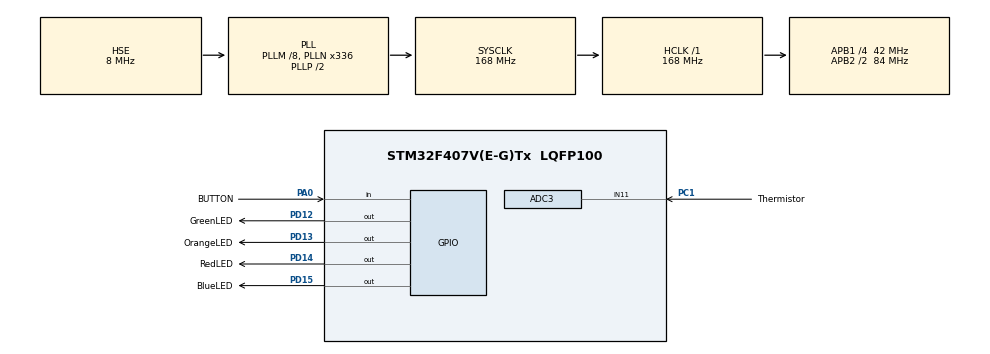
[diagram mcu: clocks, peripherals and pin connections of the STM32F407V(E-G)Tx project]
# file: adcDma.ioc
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ADC1.Channel-1\#ChannelRegularConversion=ADC_CHANNEL_TEMPSENSOR
ADC1.ContinuousConvMode=ENABLE
ADC1.DMAContinuousRequests=ENABLE
ADC1.NbrOfConversionFlag=1
ADC1.Rank-1\#ChannelRegularConversion=1
ADC1.SamplingTime-1\#ChannelRegularConversion=ADC_SAMPLETIME_84CYCLES
ADC1.master=1
ADC3.Channel-1\#ChannelRegularConversion=ADC_CHANNEL_11
ADC3.ContinuousConvMode=ENABLE
ADC3.DMAContinuousRequests=ENABLE
ADC3.NbrOfConversionFlag=1
ADC3.Rank-1\#ChannelRegularConversion=1
ADC3.SamplingTime-1\#ChannelRegularConversion=ADC_SAMPLETIME_84CYCLES
Dma.ADC1.0.Direction=DMA_PERIPH_TO_MEMORY
Dma.ADC1.0.FIFOMode=DMA_FIFOMODE_DISABLE
Dma.ADC1.0.Instance=DMA2_Stream0
Dma.ADC1.0.MemDataAlignment=DMA_MDATAALIGN_WORD
Dma.ADC1.0.MemInc=DMA_MINC_ENABLE
Dma.ADC1.0.Mode=DMA_CIRCULAR
Dma.ADC1.0.PeriphDataAlignment=DMA_PDATAALIGN_WORD
Dma.ADC1.0.PeriphInc=DMA_PINC_DISABLE
Dma.ADC1.0.Priority=DMA_PRIORITY_LOW
Dma.ADC3.1.Direction=DMA_PERIPH_TO_MEMORY
Dma.ADC3.1.FIFOMode=DMA_FIFOMODE_DISABLE
Dma.ADC3.1.Instance=DMA2_Stream1
Dma.ADC3.1.MemDataAlignment=DMA_MDATAALIGN_WORD
Dma.ADC3.1.MemInc=DMA_MINC_ENABLE
Dma.ADC3.1.Mode=DMA_CIRCULAR
Dma.ADC3.1.PeriphDataAlignment=DMA_PDATAALIGN_WORD
Dma.ADC3.1.PeriphInc=DMA_PINC_DISABLE
Dma.ADC3.1.Priority=DMA_PRIORITY_LOW
Dma.Request0=ADC1
Dma.Request1=ADC3
Mcu.Family=STM32F4
Mcu.Name=STM32F407V(E-G)Tx
Mcu.Package=LQFP100
NVIC.DMA2_Stream0_IRQn=true\:0\:0\:false\:false\:true\:false\:true
NVIC.DMA2_Stream1_IRQn=true\:0\:0\:false\:false\:true\:false\:true
NVIC.PriorityGroup=NVIC_PRIORITYGROUP_4
PA0-WKUP.GPIO_Label=BUTTON
PA0-WKUP.Signal=GPIO_Input
PA13.Mode=Trace_Asynchronous_SW
PA13.Signal=SYS_JTMS-SWDIO
PA14.Mode=Trace_Asynchronous_SW
PA14.Signal=SYS_JTCK-SWCLK
PB3.Mode=Trace_Asynchronous_SW
PB3.Signal=SYS_JTDO-SWO
PC1.GPIO_Label=Thermistor
PC1.Signal=ADCx_IN11
PD12.GPIO_Label=GreenLED
PD12.Signal=GPIO_Output
PD13.GPIO_Label=OrangeLED
PD13.Signal=GPIO_Output
PD14.GPIO_Label=RedLED
PD14.Signal=GPIO_Output
PD15.GPIO_Label=BlueLED
PD15.Signal=GPIO_Output
PH0-OSC_IN.Mode=HSE-External-Oscillator
PH0-OSC_IN.Signal=RCC_OSC_IN
PH1-OSC_OUT.Mode=HSE-External-Oscillator
PH1-OSC_OUT.Signal=RCC_OSC_OUT
ProjectManager.HeapSize=0x200
ProjectManager.StackSize=0x400
ProjectManager.TargetToolchain=STM32CubeIDE
RCC.48MHZClocksFreq_Value=48000000
RCC.AHBFreq_Value=168000000
RCC.APB1CLKDivider=RCC_HCLK_DIV4
RCC.APB1Freq_Value=42000000
RCC.APB1TimFreq_Value=84000000
RCC.APB2CLKDivider=RCC_HCLK_DIV2
RCC.APB2Freq_Value=84000000
RCC.APB2TimFreq_Value=168000000
RCC.CortexFreq_Value=168000000
RCC.HCLKFreq_Value=168000000
RCC.HSE_VALUE=8000000
RCC.HSI_VALUE=16000000
RCC.LSE_VALUE=32768
RCC.PLLM=8
RCC.PLLN=336
RCC.PLLQ=7
RCC.PLLSourceVirtual=RCC_PLLSOURCE_HSE
RCC.SYSCLKFreq_VALUE=168000000
RCC.SYSCLKSource=RCC_SYSCLKSOURCE_PLLCLK
RCC.VCOOutputFreq_Value=336000000
SH.ADCx_IN11.0=ADC3_IN11,IN11
VP_ADC1_TempSens_Input.Mode=IN-TempSens
VP_RNG_VS_RNG.Mode=RNG_Activate
board=custom

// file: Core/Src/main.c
/* USER CODE BEGIN Header */
/**
  ******************************************************************************
  * @file           : main.c
  * @brief          : Main program body
  ******************************************************************************
  * @attention
  *
  * This program tests out the DMA function of the ARM controller board by bringing in values VIA analog inputs
  * and continuously reads values of each into arrays of 100 samples then averages them.
  * Then outputs the data in Celsius values.
  *
  *
  * <h2><center>&copy; Copyright (c) 2020 STMicroelectronics.
  * All rights reserved.</center></h2>
  *
  * This software component is licensed by ST under BSD 3-Clause license,
  * the "License"; You may not use this file except in compliance with the
  * License. You may obtain a copy of the License at:
  *                        opensource.org/licenses/BSD-3-Clause
  *
  ******************************************************************************
  */
/* USER CODE END Header */
#include "main.h"

/* USER CODE BEGIN Includes */
#include <stdio.h>
#include <math.h>
/* USER CODE END Includes */

ADC_HandleTypeDef hadc1;
ADC_HandleTypeDef hadc3;
DMA_HandleTypeDef hdma_adc1;
DMA_HandleTypeDef hdma_adc3;

RNG_HandleTypeDef hrng;

/* USER CODE BEGIN PV */
/*Global variables and Arrays */
uint32_t thermArray [100];
uint32_t thermValue;
uint32_t dieArray [100];
uint32_t dieValue;
float thermC;
float dieC;
/* USER CODE END PV */

void SystemClock_Config(void);
static void MX_GPIO_Init(void);
static void MX_DMA_Init(void);
static void MX_ADC1_Init(void);
static void MX_RNG_Init(void);
static void MX_ADC3_Init(void);

int main(void)
{

  /* MCU Configuration--------------------------------------------------------*/

  /* Reset of all peripherals, Initializes the Flash interface and the Systick. */
  HAL_Init();

  /* Configure the system clock */
  SystemClock_Config();

  /* Initialize all configured peripherals */
  MX_GPIO_Init();
  MX_DMA_Init();
  MX_ADC1_Init();
  MX_RNG_Init();
  MX_ADC3_Init();
  /* USER CODE BEGIN 2 */
  HAL_ADC_Start_DMA(&hadc3, thermArray, 100);
  HAL_ADC_Start_DMA(&hadc1, dieArray, 100);
  /* USER CODE END 2 */

  /* Infinite loop */
  /* USER CODE BEGIN WHILE */
  while (1)
  {
	  /*zeroing values thermVAlue and dieValue*/
	  thermValue=0;
	  dieValue=0;

	 HAL_GPIO_TogglePin(OrangeLED_GPIO_Port, OrangeLED_Pin);	//toggle Orange LED for 1/2 a second
	 HAL_Delay(500);

	 /* circling values in the thermArray and dieArray. Then pulling out the average for both (thermVAlue and dieValue)*/
	  for(int i=0; i<100;i++)
		  thermValue+=thermArray[i];
	  thermValue/=100;

	  for(int f=0; f<100;f++)
		  dieValue+=dieArray[f];
	  dieValue/=100;

	  /*Converting the average thermValue into a temperature value (thermC) in Celsius*/
 	  thermC = ((10000.0*thermValue)/(4095.0 - thermValue))/100000.0;
 	  thermC = log(thermC) /3095.0;
 	  thermC += 1.0 / (25 + 273.15);
 	  thermC = 1.0 / thermC;
 	  thermC -= 273.15;

 	  dieC = (dieValue*3.0) / 4095.0; 		//convert dieValue into a voltage
 	  dieC = ((dieC-0.75)/0.0025)+25.0;		//convert voltage into a temperature (dieV)

 	 /*
 	  *  Calculate the temperature using the following formula:Temperature (in °C) = {(VSENSE – V25) / Avg_Slope} + 25
 	  *  Where: V25 = VSENSE value for 25° C
 	  *  Avg_Slope = average slope of the temperature vs. VSENSE curve (given in mV/°C or μV/°C)
 	  */

 	  /*displaying the reading/values by using printf*/
 	  printf("thermValue: %li, thermistor Temperature: %0.1f  *C\n", thermValue, thermC);
 	  printf("dieValue: %li,  die Temp: %0.1f  *C\n", dieValue, dieC);

 	  HAL_Delay(100);
    /* USER CODE END WHILE */

  }
}

void SystemClock_Config(void)
{
  RCC_OscInitTypeDef RCC_OscInitStruct = {0};
  RCC_ClkInitTypeDef RCC_ClkInitStruct = {0};

  /** Configure the main internal regulator output voltage
  */
  __HAL_RCC_PWR_CLK_ENABLE();
  __HAL_PWR_VOLTAGESCALING_CONFIG(PWR_REGULATOR_VOLTAGE_SCALE1);
  /** Initializes the RCC Oscillators according to the specified parameters
  * in the RCC_OscInitTypeDef structure.
  */
  RCC_OscInitStruct.OscillatorType = RCC_OSCILLATORTYPE_HSE;
  RCC_OscInitStruct.HSEState = RCC_HSE_ON;
  RCC_OscInitStruct.PLL.PLLState = RCC_PLL_ON;
  RCC_OscInitStruct.PLL.PLLSource = RCC_PLLSOURCE_HSE;
  RCC_OscInitStruct.PLL.PLLM = 8;
  RCC_OscInitStruct.PLL.PLLN = 336;
  RCC_OscInitStruct.PLL.PLLP = RCC_PLLP_DIV2;
  RCC_OscInitStruct.PLL.PLLQ = 7;
  if (HAL_RCC_OscConfig(&RCC_OscInitStruct) != HAL_OK)
  {
    Error_Handler();
  }
  /** Initializes the CPU, AHB and APB buses clocks
  */
  RCC_ClkInitStruct.ClockType = RCC_CLOCKTYPE_HCLK|RCC_CLOCKTYPE_SYSCLK
                              |RCC_CLOCKTYPE_PCLK1|RCC_CLOCKTYPE_PCLK2;
  RCC_ClkInitStruct.SYSCLKSource = RCC_SYSCLKSOURCE_PLLCLK;
  RCC_ClkInitStruct.AHBCLKDivider = RCC_SYSCLK_DIV1;
  RCC_ClkInitStruct.APB1CLKDivider = RCC_HCLK_DIV4;
  RCC_ClkInitStruct.APB2CLKDivider = RCC_HCLK_DIV2;

  if (HAL_RCC_ClockConfig(&RCC_ClkInitStruct, FLASH_LATENCY_5) != HAL_OK)
  {
    Error_Handler();
  }
}

static void MX_ADC1_Init(void)
{

  ADC_ChannelConfTypeDef sConfig = {0};

  /** Configure the global features of the ADC (Clock, Resolution, Data Alignment and number of conversion)
  */
  hadc1.Instance = ADC1;
  hadc1.Init.ClockPrescaler = ADC_CLOCK_SYNC_PCLK_DIV4;
  hadc1.Init.Resolution = ADC_RESOLUTION_12B;
  hadc1.Init.ScanConvMode = DISABLE;
  hadc1.Init.ContinuousConvMode = ENABLE;
  hadc1.Init.DiscontinuousConvMode = DISABLE;
  hadc1.Init.ExternalTrigConvEdge = ADC_EXTERNALTRIGCONVEDGE_NONE;
  hadc1.Init.ExternalTrigConv = ADC_SOFTWARE_START;
  hadc1.Init.DataAlign = ADC_DATAALIGN_RIGHT;
  hadc1.Init.NbrOfConversion = 1;
  hadc1.Init.DMAContinuousRequests = ENABLE;
  hadc1.Init.EOCSelection = ADC_EOC_SINGLE_CONV;
  if (HAL_ADC_Init(&hadc1) != HAL_OK)
  {
    Error_Handler();
  }
  /** Configure for the selected ADC regular channel its corresponding rank in the sequencer and its sample time.
  */
  sConfig.Channel = ADC_CHANNEL_TEMPSENSOR;
  sConfig.Rank = 1;
  sConfig.SamplingTime = ADC_SAMPLETIME_84CYCLES;
  if (HAL_ADC_ConfigChannel(&hadc1, &sConfig) != HAL_OK)
  {
    Error_Handler();
  }

}

static void MX_ADC3_Init(void)
{

  ADC_ChannelConfTypeDef sConfig = {0};

  /** Configure the global features of the ADC (Clock, Resolution, Data Alignment and number of conversion)
  */
  hadc3.Instance = ADC3;
  hadc3.Init.ClockPrescaler = ADC_CLOCK_SYNC_PCLK_DIV4;
  hadc3.Init.Resolution = ADC_RESOLUTION_12B;
  hadc3.Init.ScanConvMode = DISABLE;
  hadc3.Init.ContinuousConvMode = ENABLE;
  hadc3.Init.DiscontinuousConvMode = DISABLE;
  hadc3.Init.ExternalTrigConvEdge = ADC_EXTERNALTRIGCONVEDGE_NONE;
  hadc3.Init.ExternalTrigConv = ADC_SOFTWARE_START;
  hadc3.Init.DataAlign = ADC_DATAALIGN_RIGHT;
  hadc3.Init.NbrOfConversion = 1;
  hadc3.Init.DMAContinuousRequests = ENABLE;
  hadc3.Init.EOCSelection = ADC_EOC_SINGLE_CONV;
  if (HAL_ADC_Init(&hadc3) != HAL_OK)
  {
    Error_Handler();
  }
  /** Configure for the selected ADC regular channel its corresponding rank in the sequencer and its sample time.
  */
  sConfig.Channel = ADC_CHANNEL_11;
  sConfig.Rank = 1;
  sConfig.SamplingTime = ADC_SAMPLETIME_84CYCLES;
  if (HAL_ADC_ConfigChannel(&hadc3, &sConfig) != HAL_OK)
  {
    Error_Handler();
  }

}

static void MX_RNG_Init(void)
{

  hrng.Instance = RNG;
  if (HAL_RNG_Init(&hrng) != HAL_OK)
  {
    Error_Handler();
  }

}

static void MX_DMA_Init(void)
{

  /* DMA controller clock enable */
  __HAL_RCC_DMA2_CLK_ENABLE();

  /* DMA interrupt init */
  /* DMA2_Stream0_IRQn interrupt configuration */
  HAL_NVIC_SetPriority(DMA2_Stream0_IRQn, 0, 0);
  HAL_NVIC_EnableIRQ(DMA2_Stream0_IRQn);
  /* DMA2_Stream1_IRQn interrupt configuration */
  HAL_NVIC_SetPriority(DMA2_Stream1_IRQn, 0, 0);
  HAL_NVIC_EnableIRQ(DMA2_Stream1_IRQn);

}

static void MX_GPIO_Init(void)
{
  GPIO_InitTypeDef GPIO_InitStruct = {0};

  /* GPIO Ports Clock Enable */
  __HAL_RCC_GPIOH_CLK_ENABLE();
  __HAL_RCC_GPIOC_CLK_ENABLE();
  __HAL_RCC_GPIOA_CLK_ENABLE();
  __HAL_RCC_GPIOD_CLK_ENABLE();
  __HAL_RCC_GPIOB_CLK_ENABLE();

  /*Configure GPIO pin Output Level */
  HAL_GPIO_WritePin(GPIOD, GreenLED_Pin|OrangeLED_Pin|RedLED_Pin|BlueLED_Pin, GPIO_PIN_RESET);

  /*Configure GPIO pin : BUTTON_Pin */
  GPIO_InitStruct.Pin = BUTTON_Pin;
  GPIO_InitStruct.Mode = GPIO_MODE_INPUT;
  GPIO_InitStruct.Pull = GPIO_NOPULL;
  HAL_GPIO_Init(BUTTON_GPIO_Port, &GPIO_InitStruct);

  /*Configure GPIO pins : GreenLED_Pin OrangeLED_Pin RedLED_Pin BlueLED_Pin */
  GPIO_InitStruct.Pin = GreenLED_Pin|OrangeLED_Pin|RedLED_Pin|BlueLED_Pin;
  GPIO_InitStruct.Mode = GPIO_MODE_OUTPUT_PP;
  GPIO_InitStruct.Pull = GPIO_NOPULL;
  GPIO_InitStruct.Speed = GPIO_SPEED_FREQ_LOW;
  HAL_GPIO_Init(GPIOD, &GPIO_InitStruct);

}

/* USER CODE BEGIN 4 */
int __io_putchar(int ch)
	{
	ITM_SendChar(ch);
	return 0;
	}
/* USER CODE END 4 */

void Error_Handler(void)
{
}

/************************ (C) COPYRIGHT STMicroelectronics *****END OF FILE****/
